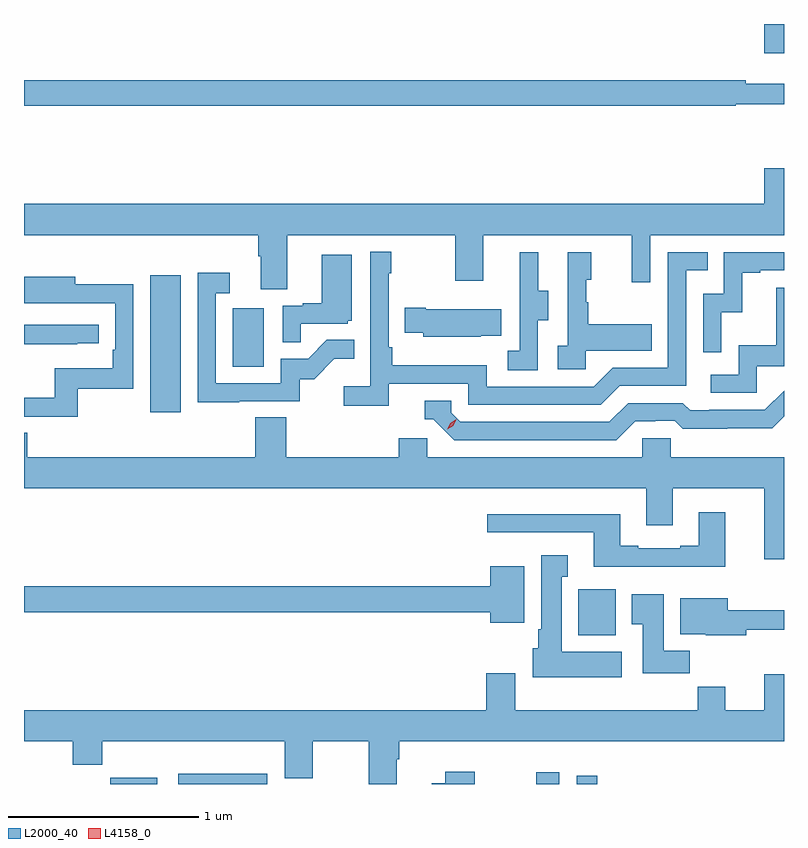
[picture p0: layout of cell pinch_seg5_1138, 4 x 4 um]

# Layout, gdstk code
import gdstk
lib = gdstk.Library(unit=1e-6, precision=1e-09)
def R(c, l, rs):  # rectangles x0, y0, x1, y1
    for r in rs: c.add(gdstk.rectangle(r[:2], r[2:], *l))
def P(c, l, *ps):  # polygons
    for p in ps: c.add(gdstk.Polygon(p, *l))
L2000_40 = (2000, 40)
L4158_0 = (4158, 0)

pinch_seg5_1138 = lib.new_cell('pinch_seg5_1138')
R(pinch_seg5_1138, L2000_40, [(820.906,843.215,821.155,843.247), (821.265,843.215,821.734,843.268), (823.148,843.215,823.27,843.277), (823.362,843.215,823.471,843.259), (823.37,843.998,823.567,844.24), (821.117,845.172,821.278,845.893), (821.552,845.412,821.716,845.719), (824.348,847.062,824.453,847.215)])
P(pinch_seg5_1138, L2000_40, [(824.198,846.792),(824.453,846.792),(824.453,846.901),(824.252,846.901),(824.252,846.92),(820.453,846.92),(820.453,846.784),(824.198,846.784)],
  [(821.839,846.104),(822.724,846.104),(822.724,845.865),(822.871,845.865),(822.871,846.104),(823.652,846.104),(823.652,845.856),(823.749,845.856),(823.749,846.104),(824.453,846.104),(824.453,846.457),(824.348,846.457),(824.348,846.268),(820.453,846.268),(820.453,846.104),(821.687,846.104),(821.687,845.992),(821.699,845.992),(821.699,845.818),(821.839,845.818)],
  [(822.374,845.322),(822.792,845.322),(822.792,845.211),(823.489,845.211),(823.588,845.31),(823.938,845.31),(823.938,845.919),(824.051,845.919),(824.051,846.015),(823.842,846.015),(823.842,845.406),(823.551,845.406),(823.452,845.307),(822.888,845.307),(822.888,845.419),(822.392,845.419),(822.392,845.515),(822.372,845.515),(822.372,845.903),(822.385,845.903),(822.385,846.016),(822.276,846.016),(822.276,845.308),(822.135,845.308),(822.135,845.206),(822.374,845.206)],
  [(824.124,845.699),(824.234,845.699),(824.234,845.907),(824.329,845.907),(824.329,845.919),(824.453,845.919),(824.453,846.015),(824.136,846.015),(824.136,845.796),(824.028,845.796),(824.028,845.487),(824.124,845.487)],
  [(823.41,845.495),(823.757,845.495),(823.757,845.635),(823.423,845.635),(823.423,845.75),(823.413,845.75),(823.413,845.868),(823.438,845.868),(823.438,846.013),(823.314,846.013),(823.314,845.522),(823.263,845.522),(823.263,845.397),(823.41,845.397)],
  [(823.158,845.656),(823.213,845.656),(823.213,845.811),(823.159,845.811),(823.159,846.013),(823.061,846.013),(823.061,845.799),(823.062,845.799),(823.062,845.495),(822.999,845.495),(822.999,845.392),(823.158,845.392)],
  [(821.909,845.637),(822.156,845.637),(822.156,845.652),(822.178,845.652),(822.178,846.001),(822.02,846.001),(822.02,845.746),(821.921,845.746),(821.921,845.733),(821.814,845.733),(821.814,845.539),(821.909,845.539)],
  [(821.585,845.229),(821.904,845.229),(821.904,845.346),(821.98,845.346),(822.087,845.453),(822.191,845.453),(822.191,845.552),(822.047,845.552),(821.949,845.454),(821.805,845.454),(821.805,845.325),(821.463,845.325),(821.463,845.799),(821.536,845.799),(821.536,845.905),(821.367,845.905),(821.367,845.224),(821.585,845.224)],
  [(820.735,845.295),(821.028,845.295),(821.028,845.846),(820.723,845.846),(820.723,845.884),(820.453,845.884),(820.453,845.744),(820.619,845.744),(820.619,845.745),(820.932,845.745),(820.932,845.5),(820.919,845.5),(820.919,845.404),(820.614,845.404),(820.614,845.249),(820.453,845.249),(820.453,845.148),(820.735,845.148)],
  [(824.31,845.415),(824.453,845.415),(824.453,845.827),(824.413,845.827),(824.413,845.524),(824.214,845.524),(824.214,845.37),(824.067,845.37),(824.067,845.274),(824.31,845.274)],
  [(822.857,845.573),(822.965,845.573),(822.965,845.713),(822.568,845.713),(822.568,845.721),(822.457,845.721),(822.457,845.591),(822.555,845.591),(822.555,845.57),(822.857,845.57)],
  [(820.733,845.535),(820.846,845.535),(820.846,845.631),(820.453,845.631),(820.453,845.53),(820.733,845.53)],
  [(823.669,845.124),(823.776,845.124),(823.776,845.127),(823.879,845.127),(823.921,845.085),(824.154,845.085),(824.154,845.087),(824.39,845.087),(824.453,845.15),(824.453,845.285),(824.352,845.184),(824.059,845.184),(824.059,845.181),(823.96,845.181),(823.921,845.22),(823.632,845.22),(823.533,845.121),(822.75,845.121),(822.702,845.169),(822.702,845.232),(822.563,845.232),(822.563,845.136),(822.606,845.136),(822.717,845.025),(823.57,845.025)],
  [(824.453,844.936),(823.857,844.936),(823.857,845.034),(823.707,845.034),(823.707,844.936),(822.576,844.936),(822.576,845.034),(822.425,845.034),(822.425,844.936),(821.834,844.936),(821.834,845.144),(821.669,845.144),(821.669,844.936),(820.469,844.936),(820.469,845.063),(820.453,845.063),(820.453,844.772),(823.727,844.772),(823.727,844.578),(823.867,844.578),(823.867,844.772),(824.348,844.772),(824.348,844.398),(824.453,844.398)],
  [(824.143,844.645),(824.003,844.645),(824.003,844.468),(823.907,844.468),(823.907,844.455),(823.687,844.455),(823.687,844.468),(823.591,844.468),(823.591,844.636),(822.891,844.636),(822.891,844.539),(823.451,844.539),(823.451,844.358),(824.143,844.358)],
  [(823.6,843.91),(823.282,843.91),(823.282,844.307),(823.315,844.307),(823.315,844.42),(823.175,844.42),(823.175,844.03),(823.16,844.03),(823.16,843.93),(823.13,843.93),(823.13,843.776),(823.6,843.776)],
  [(823.087,844.36),(822.908,844.36),(822.908,844.256),(820.453,844.256),(820.453,844.12),(822.908,844.12),(822.908,844.064),(823.087,844.064)],
  [(823.958,843.916),(823.819,843.916),(823.819,844.213),(823.652,844.213),(823.652,844.057),(823.709,844.057),(823.709,843.798),(823.958,843.798)],
  [(824.254,844.027),(824.453,844.027),(824.453,844.13),(824.158,844.13),(824.158,844.192),(823.907,844.192),(823.907,844.004),(824.04,844.004),(824.04,843.998),(824.254,843.998)],
  [(824.453,843.793),(824.348,843.793),(824.348,843.604),(824.143,843.604),(824.143,843.728),(823.999,843.728),(823.999,843.604),(823.039,843.604),(823.039,843.799),(822.887,843.799),(822.887,843.604),(820.453,843.604),(820.453,843.44),(820.709,843.44),(820.709,843.316),(820.865,843.316),(820.865,843.44),(821.825,843.44),(821.825,843.246),(821.973,843.246),(821.973,843.44),(822.268,843.44),(822.268,843.215),(822.415,843.215),(822.415,843.344),(822.428,843.344),(822.428,843.44),(824.453,843.44)],
  [(822.826,843.28),(822.671,843.28),(822.671,843.22),(822.599,843.22),(822.599,843.215),(822.826,843.215)])
P(pinch_seg5_1138, L4158_0, [(822.68,845.081),(822.68,845.082),(822.697,845.114),(822.727,845.134),(822.728,845.134),(822.728,845.134),(822.711,845.101),(822.681,845.081)])

lib.write_gds('pinch_seg5_1138.gds')
